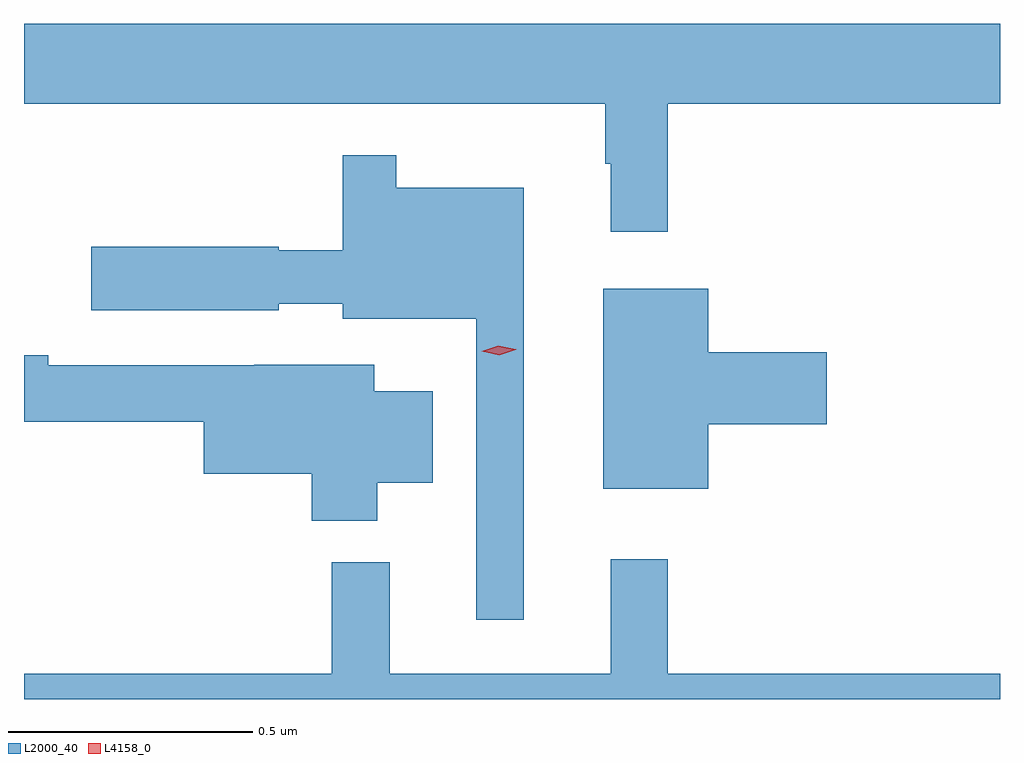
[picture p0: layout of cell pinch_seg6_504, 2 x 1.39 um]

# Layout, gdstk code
import gdstk
lib = gdstk.Library(unit=1e-6, precision=1e-09)
def P(c, l, *ps):  # polygons
    for p in ps: c.add(gdstk.Polygon(p, *l))
L2000_40 = (2000, 40)
L4158_0 = (4158, 0)

pinch_seg6_504 = lib.new_cell('pinch_seg6_504')
P(pinch_seg6_504, L2000_40, [(879.359,919.364),(880.04,919.364),(880.04,919.528),(878.04,919.528),(878.04,919.364),(879.231,919.364),(879.231,919.241),(879.242,919.241),(879.242,919.101),(879.359,919.101)],
  [(879.064,919.192),(878.803,919.192),(878.803,919.258),(878.693,919.258),(878.693,919.063),(878.562,919.063),(878.562,919.071),(878.178,919.071),(878.178,918.941),(878.562,918.941),(878.562,918.954),(878.693,918.954),(878.693,918.923),(878.967,918.923),(878.967,918.306),(879.064,918.306)],
  [(879.442,918.707),(879.685,918.707),(879.685,918.854),(879.442,918.854),(879.442,918.985),(879.227,918.985),(879.227,918.575),(879.442,918.575)],
  [(878.764,918.587),(878.878,918.587),(878.878,918.775),(878.758,918.775),(878.758,918.829),(878.512,918.829),(878.512,918.828),(878.09,918.828),(878.09,918.848),(878.04,918.848),(878.04,918.712),(878.408,918.712),(878.408,918.605),(878.63,918.605),(878.63,918.509),(878.764,918.509)],
  [(880.04,918.196),(879.359,918.196),(879.359,918.43),(879.242,918.43),(879.242,918.196),(878.789,918.196),(878.789,918.424),(878.671,918.424),(878.671,918.196),(878.04,918.196),(878.04,918.143),(880.04,918.143)])
P(pinch_seg6_504, L4158_0, [(879.014,918.848),(878.978,918.856),(878.977,918.856),(878.978,918.856),(879.012,918.868),(879.048,918.861),(879.049,918.861),(879.048,918.86)])

lib.write_gds('pinch_seg6_504.gds')
